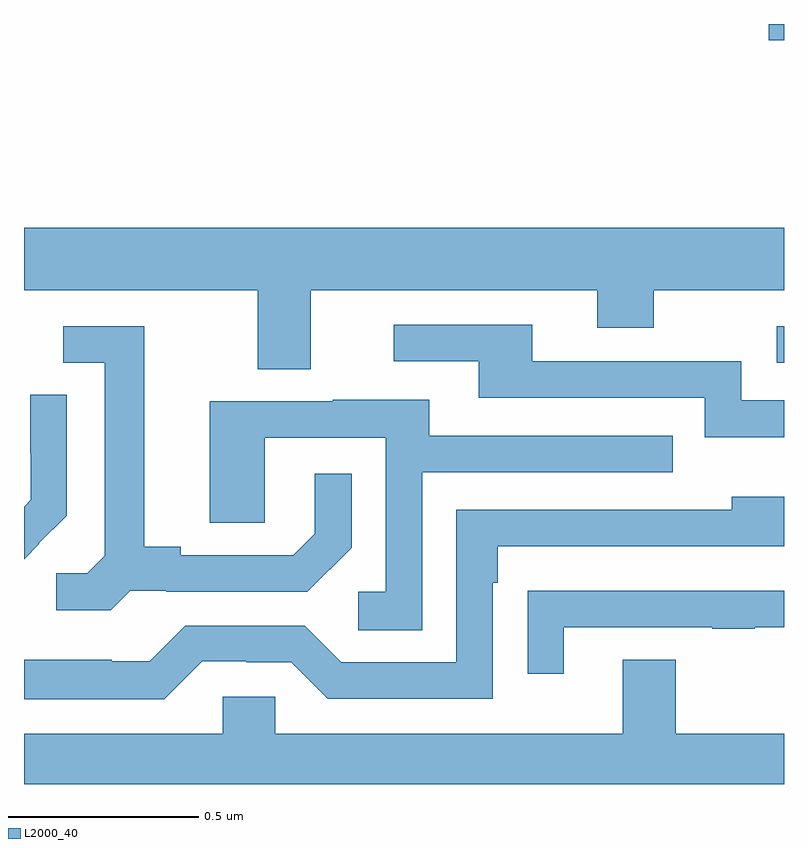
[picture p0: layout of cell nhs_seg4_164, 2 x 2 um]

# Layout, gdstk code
import gdstk
lib = gdstk.Library(unit=1e-6, precision=1e-09)
def R(c, l, rs):  # rectangles x0, y0, x1, y1
    for r in rs: c.add(gdstk.rectangle(r[:2], r[2:], *l))
def P(c, l, *ps):  # polygons
    for p in ps: c.add(gdstk.Polygon(p, *l))
L2000_40 = (2000, 40)

nhs_seg4_164 = lib.new_cell('nhs_seg4_164')
R(nhs_seg4_164, L2000_40, [(114.981,750.009,115,750.105), (114.96,750.857,115,750.9)])
P(nhs_seg4_164, L2000_40, [(113.755,750.2),(114.509,750.2),(114.509,750.101),(114.657,750.101),(114.657,750.2),(115,750.2),(115,750.364),(113,750.364),(113,750.2),(113.615,750.2),(113.615,749.992),(113.755,749.992)],
  [(115,749.91),(114.888,749.91),(114.888,750.012),(114.337,750.012),(114.337,750.108),(113.973,750.108),(113.973,750.012),(114.197,750.012),(114.197,749.916),(114.792,749.916),(114.792,749.813),(115,749.813)],
  [(113.28,749.409),(113.374,749.409),(113.374,749.406),(113.746,749.406),(113.862,749.522),(113.862,749.716),(113.765,749.716),(113.765,749.559),(113.708,749.502),(113.413,749.502),(113.413,749.525),(113.317,749.525),(113.317,750.105),(113.103,750.105),(113.103,750.009),(113.213,750.009),(113.213,749.501),(113.166,749.454),(113.085,749.454),(113.085,749.357),(113.228,749.357)],
  [(113.04,749.532),(113.039,749.533),(113.112,749.606),(113.112,749.924),(113.016,749.924),(113.016,749.77),(113.018,749.77),(113.018,749.648),(113,749.63),(113,749.492)],
  [(114.048,749.721),(114.707,749.721),(114.707,749.817),(114.067,749.817),(114.067,749.911),(113.813,749.911),(113.813,749.907),(113.489,749.907),(113.489,749.587),(113.634,749.587),(113.634,749.811),(113.952,749.811),(113.952,749.406),(113.88,749.406),(113.88,749.305),(114.048,749.305)],
  [(113.469,749.223),(113.585,749.223),(113.585,749.22),(113.703,749.22),(113.799,749.124),(114.234,749.124),(114.234,749.429),(114.247,749.429),(114.247,749.526),(115,749.526),(115,749.656),(114.863,749.656),(114.863,749.622),(114.138,749.622),(114.138,749.22),(113.835,749.22),(113.739,749.316),(113.424,749.316),(113.331,749.223),(113.231,749.223),(113.231,749.227),(113,749.227),(113,749.123),(113.369,749.123)],
  [(114.421,749.313),(114.811,749.313),(114.811,749.308),(114.923,749.308),(114.923,749.313),(115,749.313),(115,749.409),(114.427,749.409),(114.427,749.408),(114.325,749.408),(114.325,749.19),(114.421,749.19)],
  [(115,749.032),(114.715,749.032),(114.715,749.227),(114.575,749.227),(114.575,749.032),(113.661,749.032),(113.661,749.13),(113.523,749.13),(113.523,749.032),(113,749.032),(113,748.9),(115,748.9)])

lib.write_gds('nhs_seg4_164.gds')
